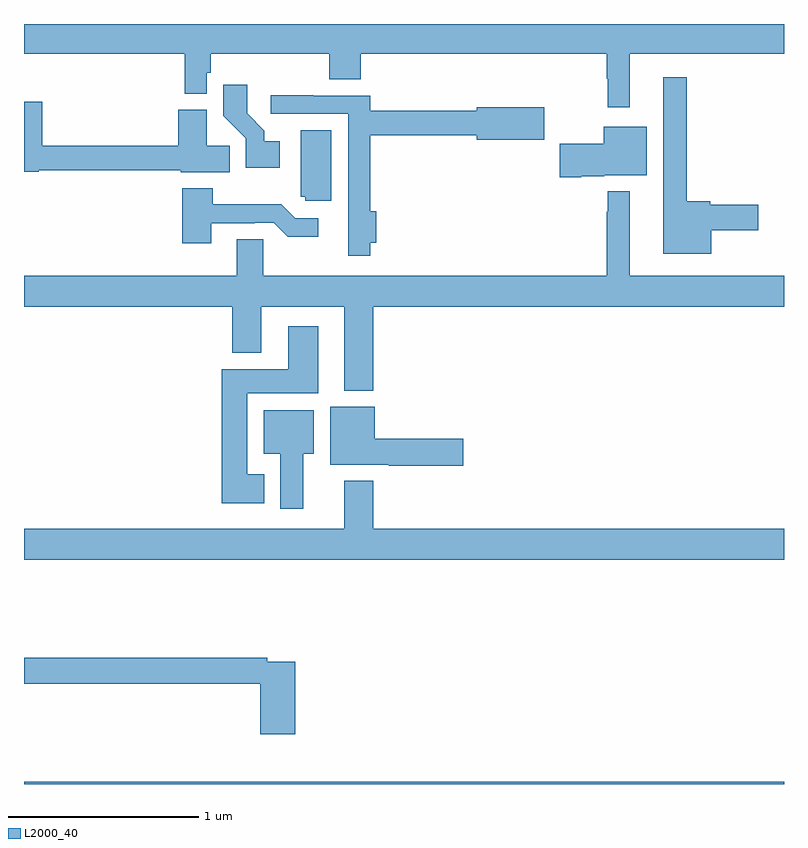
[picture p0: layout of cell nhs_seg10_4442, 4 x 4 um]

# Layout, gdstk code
import gdstk
lib = gdstk.Library(unit=1e-6, precision=1e-09)
def R(c, l, rs):  # rectangles x0, y0, x1, y1
    for r in rs: c.add(gdstk.rectangle(r[:2], r[2:], *l))
def P(c, l, *ps):  # polygons
    for p in ps: c.add(gdstk.Polygon(p, *l))
L2000_40 = (2000, 40)

nhs_seg10_4442 = lib.new_cell('nhs_seg10_4442')
R(nhs_seg10_4442, L2000_40, [(363,1268.5,367,1268.512)])
P(nhs_seg10_4442, L2000_40, [(366.187,1272.344),(367,1272.344),(367,1272.5),(363,1272.5),(363,1272.344),(363.847,1272.344),(363.847,1272.134),(363.963,1272.134),(363.963,1272.243),(363.983,1272.243),(363.983,1272.344),(364.607,1272.344),(364.607,1272.208),(364.772,1272.208),(364.772,1272.344),(366.066,1272.344),(366.066,1272.212),(366.073,1272.212),(366.073,1272.063),(366.187,1272.063)],
  [(366.616,1271.414),(366.865,1271.414),(366.865,1271.549),(366.612,1271.549),(366.612,1271.567),(366.487,1271.567),(366.487,1272.22),(366.365,1272.22),(366.365,1271.291),(366.616,1271.291)],
  [(364.345,1271.884),(364.264,1271.884),(364.264,1271.939),(364.174,1272.029),(364.174,1272.181),(364.048,1272.181),(364.048,1272.018),(364.167,1271.899),(364.167,1271.744),(364.345,1271.744)],
  [(364.823,1271.348),(364.853,1271.348),(364.853,1271.514),(364.823,1271.514),(364.823,1271.914),(365.384,1271.914),(365.384,1271.891),(365.737,1271.891),(365.737,1272.061),(365.384,1272.061),(365.384,1272.043),(364.823,1272.043),(364.823,1272.123),(364.523,1272.123),(364.523,1272.126),(364.299,1272.126),(364.299,1272.027),(364.707,1272.027),(364.707,1271.502),(364.706,1271.502),(364.706,1271.28),(364.823,1271.28)],
  [(364.082,1271.858),(363.961,1271.858),(363.961,1272.049),(363.812,1272.049),(363.812,1271.86),(363.095,1271.86),(363.095,1272.091),(363,1272.091),(363,1271.723),(363.078,1271.723),(363.078,1271.731),(363.824,1271.731),(363.824,1271.72),(364.082,1271.72)],
  [(365.932,1271.699),(366.054,1271.699),(366.054,1271.705),(366.277,1271.705),(366.277,1271.959),(366.05,1271.959),(366.05,1271.871),(365.82,1271.871),(365.82,1271.693),(365.932,1271.693)],
  [(364.618,1271.941),(364.457,1271.941),(364.457,1271.592),(364.479,1271.592),(364.479,1271.571),(364.618,1271.571)],
  [(363.985,1271.451),(364.214,1271.451),(364.214,1271.454),(364.314,1271.454),(364.387,1271.381),(364.549,1271.381),(364.549,1271.478),(364.428,1271.478),(364.355,1271.551),(363.993,1271.551),(363.993,1271.635),(363.833,1271.635),(363.833,1271.346),(363.985,1271.346)],
  [(364.838,1271.012),(367,1271.012),(367,1271.176),(366.187,1271.176),(366.187,1271.62),(366.073,1271.62),(366.073,1271.513),(366.066,1271.513),(366.066,1271.176),(364.26,1271.176),(364.26,1271.366),(364.121,1271.366),(364.121,1271.176),(363,1271.176),(363,1271.012),(364.097,1271.012),(364.097,1270.769),(364.249,1270.769),(364.249,1271.012),(364.685,1271.012),(364.685,1270.571),(364.838,1270.571)],
  [(364.264,1270.129),(364.174,1270.129),(364.174,1270.556),(364.549,1270.556),(364.549,1270.909),(364.391,1270.909),(364.391,1270.684),(364.04,1270.684),(364.04,1269.977),(364.264,1269.977)],
  [(365.311,1270.316),(364.846,1270.316),(364.846,1270.486),(364.613,1270.486),(364.613,1270.181),(364.921,1270.181),(364.921,1270.174),(365.311,1270.174)],
  [(364.471,1270.238),(364.525,1270.238),(364.525,1270.468),(364.262,1270.468),(364.262,1270.238),(364.349,1270.238),(364.349,1269.948),(364.471,1269.948)],
  [(367,1269.844),(364.838,1269.844),(364.838,1270.096),(364.685,1270.096),(364.685,1269.844),(363,1269.844),(363,1269.68),(367,1269.68)],
  [(364.427,1269.144),(364.28,1269.144),(364.28,1269.164),(363,1269.164),(363,1269.028),(364.244,1269.028),(364.244,1268.763),(364.427,1268.763)])

lib.write_gds('nhs_seg10_4442.gds')
